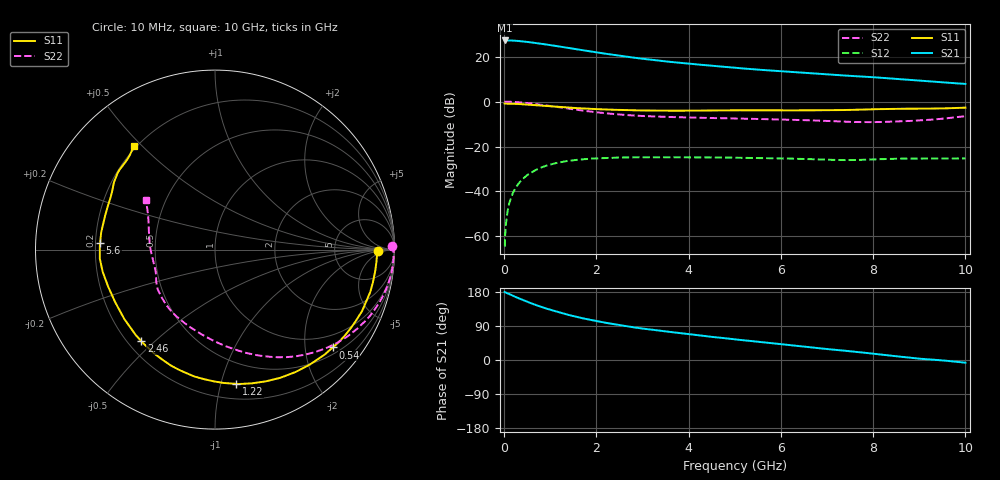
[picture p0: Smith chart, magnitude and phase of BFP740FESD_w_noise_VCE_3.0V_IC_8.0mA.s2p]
! Infineon Technologies  Discrete & RF Semiconductors
! BFP740FESD
! VCE =  3.0 V,  IC =  8.0 mA
! Common Emitter S-Parameters:  Jan 2016
# GHz  S  MA  R  50
!  f  S11  S21  S12  S22
! GHz  MAG  ANG  MAG  ANG  MAG  ANG  MAG  ANG
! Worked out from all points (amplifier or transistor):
!   233 points, 10 MHz to 10 GHz, reference 50 ohm
!   highest |S21| = 27.3 dB at 10 MHz (marker M1)
!   |S21| within 3 dB of that: start of sweep to 1.292 GHz
!   unconditionally stable (mu >= 1): start of sweep to 10.93 MHz; 6.651 GHz to end of sweep
!   at 200 MHz: K = 0.04, MSG = 33.7 dB, |S12| = -40.3 dB
!   at 1.74 GHz: K = 0.26, MSG = 24.2 dB, |S12| = -25.6 dB
!   at 10 GHz: K = 1.37, MAG = 13.0 dB, |S12| = -25.3 dB
!   lowest NFmin = 0.56 dB at 450 MHz
!   S11 on the Smith chart (normalised r, x): 10 MHz: 21, -2; 540 MHz: 0.66, -2.63; 1.22 GHz: 0.32, -1.12; 2.46 GHz: 0.25, -0.45; 5.6 GHz: 0.22, +0.03; 10 GHz: 0.19, +0.47
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0.01  0.9108 -0.6  23.13 179.4  0.0006 2.8  0.9865 1.2
0.04  0.9028 -3.0  23.03 177.5  0.0019 85.7  0.9956 -1.9
0.08  0.901 -6.0  23.05 175.6  0.0039 85.8  0.9951 -4.0
0.2  0.8966 -15.3  22.93 169.1  0.0097 81.0  0.9861 -10.2
0.38  0.8763 -28.5  22.14 159.6  0.0179 73.4  0.957 -19.0
0.54  0.8531 -39.7  21.22 151.8  0.0245 67.0  0.9211 -26.4
0.7  0.8302 -50.5  20.25 144.6  0.0305 61.2  0.8816 -33.4
0.9  0.8016 -63.0  18.91 136.4  0.0369 54.4  0.8278 -41.5
1.06  0.7777 -72.2  17.85 130.4  0.0411 49.4  0.7835 -47.6
1.22  0.7575 -81.0  16.83 124.7  0.0448 44.8  0.7412 -53.5
1.42  0.7326 -91.1  15.58 118.2  0.0483 39.7  0.6908 -60.2
1.68  0.708 -102.4  14.14 110.8  0.0517 34.0  0.6351 -68.0
2  0.6832 -114.2  12.55 102.8  0.0545 28.3  0.5806 -76.5
2.46  0.6548 -128.8  10.73 92.9  0.0568 21.6  0.5215 -87.8
2.86  0.6389 -139.4  9.435 85.3  0.0575 17.0  0.487 -96.3
3.4  0.6285 -150.5  8.103 77.0  0.0575 12.7  0.4613 -104.8
4.2  0.6317 -164.0  6.734 65.5  0.0573 8.4  0.4381 -114.9
5.1  0.6429 -176.7  5.579 53.2  0.0561 4.5  0.4189 -126.6
5.6  0.6412 176.9  5.089 46.9  0.0551 3.0  0.4084 -132.5
6.8  0.642 160.4  4.2 31.5  0.0515 1.4  0.378 -149.2
8.4  0.6896 142.0  3.283 11.2  0.0531 6.5  0.3585 -179.4
10  0.7345 127.9  2.486 -7.1  0.0543 5.4  0.4751 144.1
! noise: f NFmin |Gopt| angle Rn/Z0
0.45  0.56  0.32  6  0.1
2.4  0.64  0.21  46  0.1
5.5  0.82  0.33  134  0.08
10  1.44  0.4  -138  0.12
